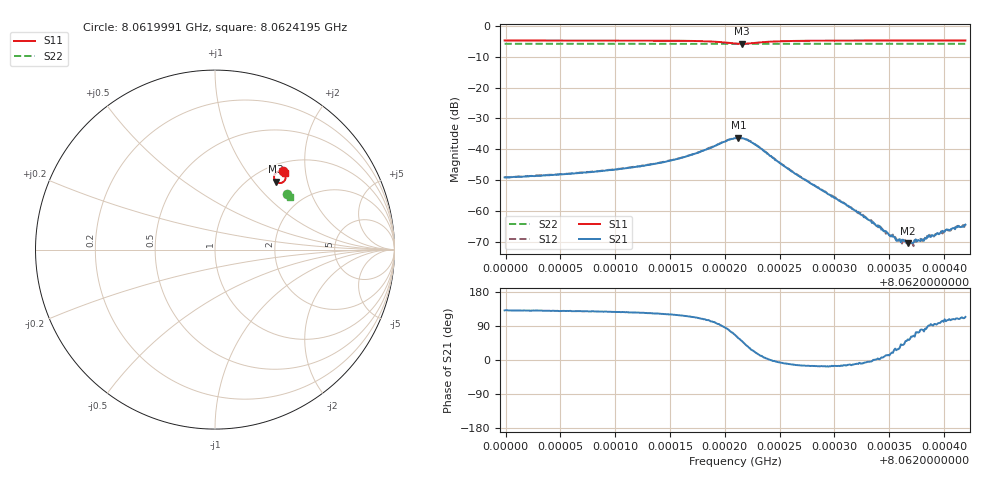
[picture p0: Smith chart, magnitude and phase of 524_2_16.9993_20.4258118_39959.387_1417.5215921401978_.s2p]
#  HZ  S  RI  R  50.00
! Rohde & Schwarz Vector Network Analyzer
! Rohde-Schwarz,ZNB20-2Port,1311601062101988,3.16
! Created: UTC 3/20/2024, 11:15:37 PM
! freq[Hz]  re:S11  im:S11  re:S21  im:S21  re:S12  im:S12  re:S22  im:S22
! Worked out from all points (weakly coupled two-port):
!   401 points, 8.0619991 GHz to 8.0624195 GHz, reference 50 ohm
!   highest |S21| = -36.26 dB at 8.0622125 GHz (marker M1); lowest = -70.4 dB at 8.062367 GHz (marker M2)
!   lowest |S11| = -5.9 dB at 8.0622156 GHz (marker M3), VSWR 3.07, Z = 63.9 + j65.4 ohm
!   |S11| at or under -10 dB: nowhere
!   |S22| runs from -5.9 to -5.9 dB; largest |S21 - S12| = 0.001
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8.06199913e9  0.3768 0.4357  -0.00231 0.00266  -0.00215 0.00282  0.4026 0.3115
8.06206955e9  0.3827 0.4297  -0.0026 0.00327  -0.00243 0.00346  0.4054 0.3079
8.06210633e9  0.3864 0.4252  -0.0029 0.0039  -0.00266 0.00413  0.4068 0.3057
8.06213997e9  0.3903 0.4186  -0.00322 0.00507  -0.00294 0.00529  0.4079 0.3039
8.06217255e9  0.3938 0.4049  -0.00328 0.00784  -0.0028 0.0081  0.409 0.3015
8.06219462e9  0.3867 0.3833  -0.000999 0.0121  -6.37e-05 0.0123  0.4091 0.2997
8.06220934e9  0.357 0.3711  0.00606 0.0139  0.00702 0.0136  0.4082 0.2988
8.06221249e9  0.3479 0.3739  0.0083 0.0129  0.00887 0.0125  0.4079 0.2989
8.06221564e9  0.3396 0.3791  0.00969 0.0115  0.0105 0.011  0.4076 0.2991
8.06222615e9  0.3289 0.4071  0.0114 0.00508  0.012 0.0043  0.4079 0.2999
8.06225873e9  0.3583 0.4358  0.00464 -0.000888  0.00464 -0.00117  0.4107 0.2995
8.06227975e9  0.3685 0.4353  0.00263 -0.000734  0.00259 -0.000916  0.412 0.2982
8.06232495e9  0.3793 0.4313  0.00086 -0.000138  0.000833 -0.000192  0.4137 0.2957
8.06235017e9  0.3827 0.4293  0.000399 8.5e-05  0.0004 9.28e-05  0.4147 0.2944
8.06235858e9  0.3837 0.4287  0.000305 0.000166  0.000299 0.000159  0.4151 0.2939
8.06236699e9  0.3847 0.4281  0.000176 0.000245  0.000191 0.000244  0.4154 0.2935
8.06237014e9  0.3851 0.4277  0.000149 0.00028  0.000201 0.000232  0.4154 0.2934
8.0623796e9  0.3859 0.4272  5.93e-05 0.000351  8.48e-05 0.000327  0.4159 0.2928
8.06238486e9  0.3865 0.4267  1.67e-05 0.000379  2.2e-05 0.000398  0.4159 0.2926
8.06239011e9  0.387 0.4264  -5.79e-06 0.0004  -1.72e-05 0.00038  0.4162 0.2922
8.06240062e9  0.3879 0.4256  -0.000139 0.000445  -6.06e-05 0.000478  0.4165 0.2917
8.06241954e9  0.3894 0.4244  -0.000244 0.000556  -0.000212 0.000577  0.4173 0.2909
